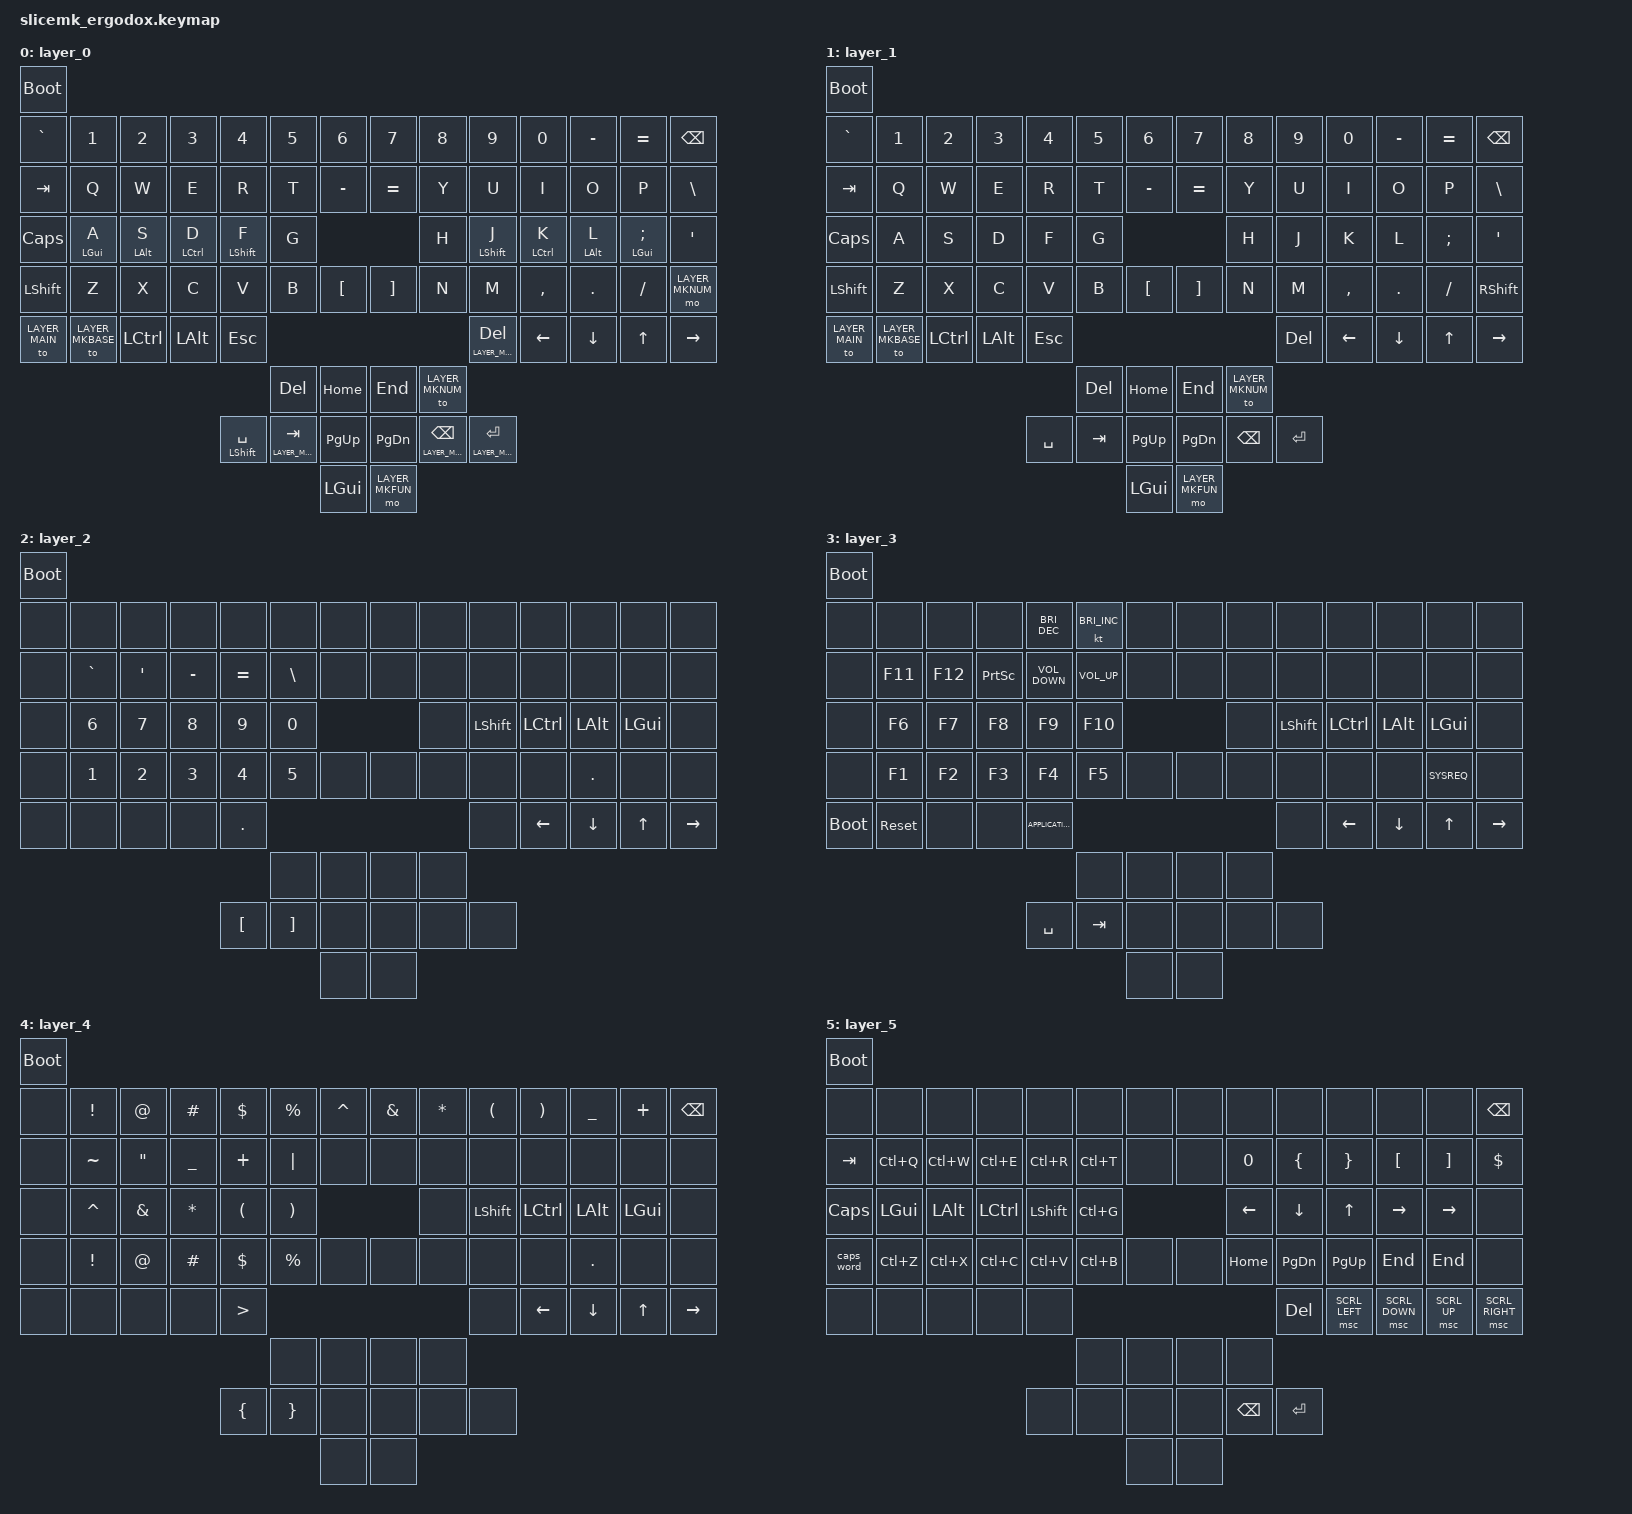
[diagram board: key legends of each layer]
#include <behaviors.dtsi>
#include <dt-bindings/zmk/bt.h>
#include <dt-bindings/zmk/keys.h>
#include <dt-bindings/zmk/mouse.h>
#include <dt-bindings/zmk/outputs.h>
#include <dt-bindings/zmk/rgb.h>

#define LAYER_MKBASE 0
#define LAYER_MAIN 1
#define LAYER_MKNUM 2
#define LAYER_MKFUN 3
#define LAYER_MKSYM 4
#define LAYER_MKNAV 5

/ {
  behaviors {
    hm: home_row_mod {
      compatible = "zmk,behavior-hold-tap";
      #binding-cells = <2>;
      flavor = "balanced";
      tapping-term-ms = <200>;
      quick-tap-ms = <175>;
      require-prior-idle-ms = <150>;
      bindings = <&kp>, <&kp>;
      hold-trigger-on-release;
    };
  };
};


/ {
	keymap {
		compatible = "zmk,keymap";
		layer_0 {
			bindings = <
				&bootloader
				&kp GRAVE      &kp NUMBER_1     &kp NUMBER_2     &kp NUMBER_3 &kp NUMBER_4     &kp NUMBER_5        &kp NUMBER_6     &kp NUMBER_7      &kp NUMBER_8              &kp NUMBER_9           &kp NUMBER_0   &kp MINUS      &kp EQUAL          &kp BACKSPACE
				&kp TAB        &kp Q            &kp W            &kp E        &kp R            &kp T               &kp MINUS        &kp EQUAL         &kp Y                     &kp U                  &kp I          &kp O          &kp P              &kp BACKSLASH
				&kp CAPSLOCK   &hm LGUI A       &hm LALT S       &hm LCTRL D  &hm LSHFT F      &kp G                                                  &kp H                     &hm LSHFT J            &hm LCTRL  K   &hm LALT L     &hm LGUI SEMICOLON &kp SINGLE_QUOTE
				&kp LEFT_SHIFT &kp Z            &kp X            &kp C        &kp V            &kp B               &kp LEFT_BRACKET &kp RIGHT_BRACKET &kp N                     &kp M                  &kp COMMA      &kp PERIOD     &kp SLASH          &mo LAYER_MKNUM
				&to LAYER_MAIN &to LAYER_MKBASE &kp LEFT_CONTROL &kp LEFT_ALT &kp ESCAPE                                                                                        &lt LAYER_MKFUN DELETE &kp LEFT_ARROW &kp DOWN_ARROW &kp UP_ARROW       &kp RIGHT_ARROW
				                                                                               &kp DELETE          &kp HOME         &kp END           &to LAYER_MKNUM
				                                                              &hm LSHIFT SPACE &lt LAYER_MKNAV TAB &kp PAGE_UP      &kp PAGE_DOWN     &lt LAYER_MKSYM BACKSPACE &lt LAYER_MKNUM RETURN
				                                                                                                   &kp LEFT_GUI     &mo LAYER_MKFUN
			>;
		};
		layer_1 {
			bindings = <
				&bootloader
				&kp GRAVE      &kp NUMBER_1     &kp NUMBER_2     &kp NUMBER_3 &kp NUMBER_4 &kp NUMBER_5 &kp NUMBER_6     &kp NUMBER_7      &kp NUMBER_8    &kp NUMBER_9 &kp NUMBER_0   &kp MINUS      &kp EQUAL     &kp BACKSPACE
				&kp TAB        &kp Q            &kp W            &kp E        &kp R        &kp T        &kp MINUS        &kp EQUAL         &kp Y           &kp U        &kp I          &kp O          &kp P         &kp BACKSLASH
				&kp CAPSLOCK   &kp A            &kp S            &kp D        &kp F        &kp G                                           &kp H           &kp J        &kp K          &kp L          &kp SEMICOLON &kp SINGLE_QUOTE
				&kp LEFT_SHIFT &kp Z            &kp X            &kp C        &kp V        &kp B        &kp LEFT_BRACKET &kp RIGHT_BRACKET &kp N           &kp M        &kp COMMA      &kp PERIOD     &kp SLASH     &kp RIGHT_SHIFT
				&to LAYER_MAIN &to LAYER_MKBASE &kp LEFT_CONTROL &kp LEFT_ALT &kp ESCAPE                                                                   &kp DELETE   &kp LEFT_ARROW &kp DOWN_ARROW &kp UP_ARROW  &kp RIGHT_ARROW
				                                                                           &kp DELETE   &kp HOME         &kp END           &to LAYER_MKNUM
				                                                              &kp SPACE    &kp TAB      &kp PAGE_UP      &kp PAGE_DOWN     &kp BACKSPACE   &kp RETURN
				                                                                                        &kp LEFT_GUI     &mo LAYER_MKFUN
			>;
		};
		layer_2 {
			bindings = <
				&bootloader
				&none &none        &none            &none        &none            &none             &none &none &none &none          &none            &none          &none        &none
				&none &kp GRAVE    &kp SINGLE_QUOTE &kp MINUS    &kp EQUAL        &kp BACKSLASH     &none &none &none &none          &none            &none          &none        &none
				&none &kp NUMBER_6 &kp NUMBER_7     &kp NUMBER_8 &kp NUMBER_9     &kp NUMBER_0                  &none &kp LEFT_SHIFT &kp LEFT_CONTROL &kp LEFT_ALT   &kp LEFT_GUI &none
				&none &kp NUMBER_1 &kp NUMBER_2     &kp NUMBER_3 &kp NUMBER_4     &kp NUMBER_5      &none &none &none &none          &none            &kp PERIOD     &none        &none
				&none &none        &none            &none        &kp PERIOD                                           &none          &kp LEFT_ARROW   &kp DOWN_ARROW &kp UP_ARROW &kp RIGHT_ARROW
				                                                                  &none             &none &none &none
				                                                 &kp LEFT_BRACKET &kp RIGHT_BRACKET &none &none &none &none
				                                                                                    &none &none
			>;
		};
		layer_3 {
			bindings = <
				&bootloader
				&none       &none      &none   &none           &kp C_BRIGHTNESS_DEC &kt C_BRIGHTNESS_INC &none &none &none &none          &none            &none          &none        &none
				&none       &kp F11    &kp F12 &kp PRINTSCREEN &kp C_VOLUME_DOWN    &kp C_VOLUME_UP      &none &none &none &none          &none            &none          &none        &none
				&none       &kp F6     &kp F7  &kp F8          &kp F9               &kp F10                          &none &kp LEFT_SHIFT &kp LEFT_CONTROL &kp LEFT_ALT   &kp LEFT_GUI &none
				&none       &kp F1     &kp F2  &kp F3          &kp F4               &kp F5               &none &none &none &none          &none            &none          &kp SYSREQ   &none
				&bootloader &sys_reset &none   &none           &kp K_APPLICATION                                           &none          &kp LEFT_ARROW   &kp DOWN_ARROW &kp UP_ARROW &kp RIGHT_ARROW
				                                                                    &none                &none &none &none
				                                               &kp SPACE            &kp TAB              &none &none &none &none
				                                                                                         &none &none
			>;
		};
		layer_4 {
			bindings = <
				&bootloader
				&none &kp EXCLAMATION &kp AT_SIGN       &kp HASH       &kp DOLLAR           &kp PERCENT           &kp CARET &kp AMPERSAND &kp ASTERISK &kp LEFT_PARENTHESIS &kp RIGHT_PARENTHESIS &kp UNDERSCORE &kp PLUS     &kp BACKSPACE
				&none &kp TILDE       &kp DOUBLE_QUOTES &kp UNDERSCORE &kp PLUS             &kp PIPE              &none     &none         &none        &none                &none                 &none          &none        &none
				&none &kp CARET       &kp AMPERSAND     &kp ASTERISK   &kp LEFT_PARENTHESIS &kp RIGHT_PARENTHESIS                         &none        &kp LEFT_SHIFT       &kp LEFT_CONTROL      &kp LEFT_ALT   &kp LEFT_GUI &none
				&none &kp EXCLAMATION &kp AT_SIGN       &kp HASH       &kp DOLLAR           &kp PERCENT           &none     &none         &none        &none                &none                 &kp PERIOD     &none        &none
				&none &none           &none             &none          &kp GREATER_THAN                                                                &none                &kp LEFT_ARROW        &kp DOWN_ARROW &kp UP_ARROW &kp RIGHT_ARROW
				                                                                            &none                 &none     &none         &none
				                                                       &kp LEFT_BRACE       &kp RIGHT_BRACE       &none     &none         &none        &none
				                                                                                                  &none     &none
			>;
		};
		layer_5 {
			bindings = <
				&bootloader
				&none        &none        &none        &none            &none          &none     &none &none &none          &none          &none           &none            &none             &kp BACKSPACE
				&kp TAB      &kp LC(Q)    &kp LC(W)    &kp LC(E)        &kp LC(R)      &kp LC(T) &none &none &kp NUMBER_0   &kp LEFT_BRACE &kp RIGHT_BRACE &kp LEFT_BRACKET &kp RIGHT_BRACKET &kp DOLLAR
				&kp CAPSLOCK &kp LEFT_GUI &kp LEFT_ALT &kp LEFT_CONTROL &kp LEFT_SHIFT &kp LC(G)             &kp LEFT_ARROW &kp DOWN_ARROW &kp UP_ARROW    &kp RIGHT_ARROW  &kp RIGHT_ARROW   &none
				&caps_word   &kp LC(Z)    &kp LC(X)    &kp LC(C)        &kp LC(V)      &kp LC(B) &none &none &kp HOME       &kp PAGE_DOWN  &kp PAGE_UP     &kp END          &kp END           &none
				&none        &none        &none        &none            &none                                               &kp DELETE     &msc SCRL_LEFT  &msc SCRL_DOWN   &msc SCRL_UP      &msc SCRL_RIGHT
				                                                                       &none     &none &none &none
				                                                        &none          &none     &none &none &kp BACKSPACE  &kp RETURN
				                                                                                 &none &none
			>;
		};
	};
};
